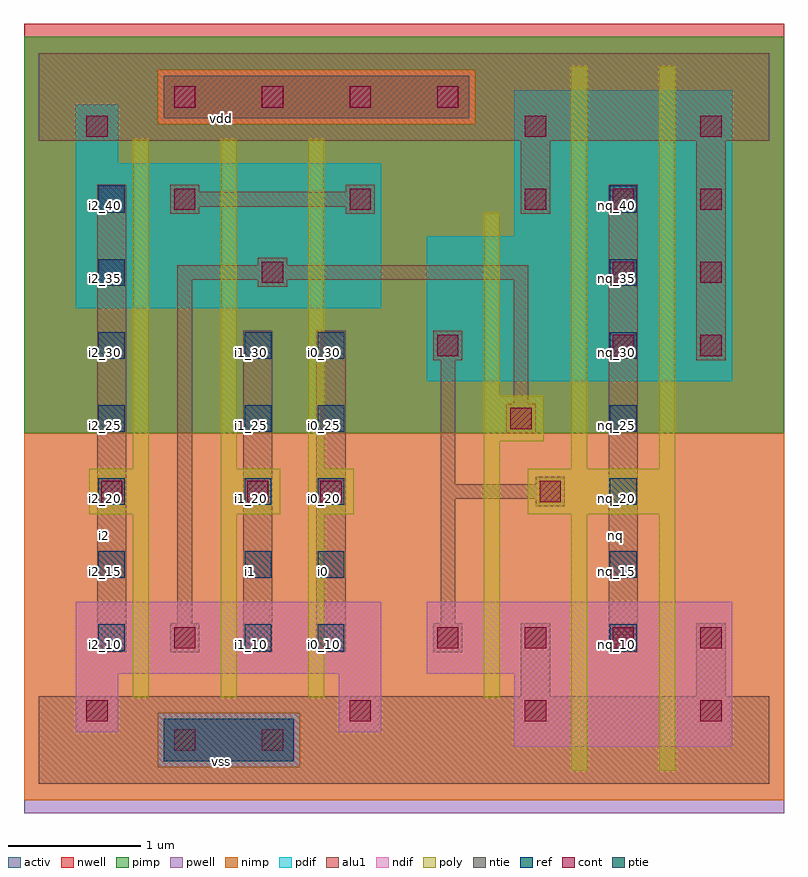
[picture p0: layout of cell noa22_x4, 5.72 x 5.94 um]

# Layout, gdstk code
import gdstk
lib = gdstk.Library(unit=1e-6, precision=2.5e-09)
def R(c, l, rs):  # rectangles x0, y0, x1, y1
    for r in rs: c.add(gdstk.rectangle(r[:2], r[2:], *l))
def A(c, l, x, y, w, h, nx, ny, dx, dy):  # array of equal rectangles
    R(c, l, [(x+i*dx, y+j*dy, x+i*dx+w, y+j*dy+h) for i in range(nx) for j in range(ny)])
ndif = (3, 0)
pdif = (4, 0)
ntie = (5, 0)
ptie = (6, 0)
ref = (24, 0)
cont = (25, 0)
pwell = (41, 0)
nwell = (42, 0)
activ = (43, 0)
pimp = (44, 0)
nimp = (45, 0)
poly = (46, 0)
alu1 = (49, 0)

noa22_x4 = lib.new_cell('noa22_x4')
R(noa22_x4, ndif, [(3.58,0.28,5.22,0.83), (3.58,0.28,5.22,0.83), (0.28,0.39,0.6,0.83), (0.28,0.39,0.6,0.83), (2.26,0.39,2.58,0.83), (2.26,0.39,2.58,0.83), (0.28,0.83,2.58,1.37), (0.28,0.83,2.58,1.37), (2.92,0.83,5.22,1.37), (2.92,0.83,5.22,1.37)])
R(noa22_x4, pdif, [(2.92,3.03,5.22,4.12), (2.92,3.03,5.22,4.12), (0.28,3.58,2.58,4.67), (0.28,3.58,2.58,4.67), (3.58,4.12,5.22,5.22), (3.58,4.12,5.22,5.22), (0.28,4.67,0.6,5.11), (0.28,4.67,0.6,5.11)])
R(noa22_x4, ntie, [(0.94,5.01,3.24,5.33), (0.94,5.01,3.24,5.33)])
R(noa22_x4, ptie, [(0.94,0.17,1.92,0.49), (0.94,0.17,1.92,0.49)])
A(noa22_x4, ref, 0.45, 1, 0.2, 0.2, 1, 7, 0, 0.55)
A(noa22_x4, ref, 1.55, 1, 0.2, 0.2, 1, 5, 0, 0.55)
A(noa22_x4, ref, 2.1, 1, 0.2, 0.2, 1, 5, 0, 0.55)
A(noa22_x4, ref, 4.3, 1, 0.2, 0.2, 1, 7, 0, 0.55)
A(noa22_x4, cont, 2.34, 0.47, 0.16, 0.16, 3, 1, 1.32, 0)
A(noa22_x4, cont, 3, 1.02, 0.16, 0.16, 4, 1, 0.66, 0)
A(noa22_x4, cont, 4.32, 3.22, 0.16, 0.16, 1, 3, 0, 0.55)
A(noa22_x4, cont, 4.98, 3.22, 0.16, 0.16, 1, 4, 0, 0.55)
A(noa22_x4, cont, 1.02, 4.32, 0.16, 0.16, 3, 1, 1.32, 0)
A(noa22_x4, cont, 1.02, 5.09, 0.16, 0.16, 4, 1, 0.66, 0)
R(noa22_x4, cont, [(1.02,0.25,1.18,0.41), (1.68,0.25,1.84,0.41), (0.36,0.47,0.52,0.63), (1.02,1.02,1.18,1.18), (0.47,2.12,0.63,2.28), (1.57,2.12,1.73,2.28), (2.12,2.12,2.28,2.28), (3.77,2.12,3.93,2.28), (3.55,2.67,3.71,2.83), (3,3.22,3.16,3.38), (1.68,3.77,1.84,3.93), (0.36,4.87,0.52,5.03), (3.66,4.87,3.82,5.03)])
R(noa22_x4, pwell, [(-0.11,-0.22,5.61,2.64)])
R(noa22_x4, nwell, [(-0.11,2.64,5.61,5.72)])
R(noa22_x4, activ, [(0.94,0.17,1.92,0.49), (0.94,0.17,1.92,0.49), (3.58,0.28,5.22,0.83), (3.58,0.28,5.22,0.83), (0.28,0.39,0.6,0.83), (0.28,0.39,0.6,0.83), (2.26,0.39,2.58,0.83), (2.26,0.39,2.58,0.83), (0.28,0.83,2.58,1.37), (0.28,0.83,2.58,1.37), (2.92,0.83,5.22,1.37), (2.92,0.83,5.22,1.37), (2.92,3.03,5.22,4.12), (2.92,3.03,5.22,4.12), (0.28,3.58,2.58,4.67), (0.28,3.58,2.58,4.67), (3.58,4.12,5.22,5.22), (3.58,4.12,5.22,5.22), (0.28,4.67,0.6,5.11), (0.28,4.67,0.6,5.11), (0.94,5.01,3.24,5.33), (0.94,5.01,3.24,5.33)])
R(noa22_x4, pimp, [(0.895,0.125,1.965,0.535), (-0.11,2.64,5.61,4.965), (-0.11,4.965,0.895,5.375), (3.285,4.965,5.61,5.375), (-0.11,5.375,5.61,5.625)])
R(noa22_x4, nimp, [(-0.11,-0.125,5.61,0.125), (-0.11,0.125,0.895,0.535), (1.965,0.125,5.61,0.535), (-0.11,0.535,5.61,2.64), (0.895,4.965,3.285,5.375)])
A(noa22_x4, poly, 0.71, 0.65, 0.12, 1.38, 3, 1, 0.66, 0)
A(noa22_x4, poly, 0.71, 2.37, 0.12, 2.48, 3, 1, 0.66, 0)
R(noa22_x4, poly, [(4.01,0.1,4.13,2.03), (4.67,0.1,4.79,2.03), (3.35,0.65,3.47,2.58), (0.38,2.03,0.83,2.37), (1.37,2.03,1.82,2.37), (2.03,2.03,2.37,2.37), (3.68,2.03,4.79,2.37), (4.01,2.37,4.13,5.4), (4.67,2.37,4.79,5.4), (3.35,2.58,3.8,2.92), (3.35,2.92,3.47,4.3)])
R(noa22_x4, alu1, [(0,0,5.5,0.66), (3.63,0.66,3.85,1.21), (4.95,0.66,5.17,1.21), (0.44,0.99,0.66,4.51), (0.99,0.99,1.21,1.21), (1.54,0.99,1.76,3.41), (2.09,0.99,2.31,3.41), (2.97,0.99,3.19,1.21), (4.29,0.99,4.51,4.51), (1.045,1.21,1.155,3.795), (3.025,1.21,3.135,2.145), (3.74,2.09,3.96,2.145), (3.025,2.145,3.96,2.255), (3.025,2.255,3.135,3.19), (3.74,2.255,3.96,2.31), (3.52,2.64,3.74,2.86), (3.575,2.86,3.685,3.795), (2.97,3.19,3.19,3.41), (4.95,3.19,5.17,4.84), (1.65,3.74,1.87,3.795), (1.045,3.795,3.685,3.905), (1.65,3.905,1.87,3.96), (0.99,4.29,1.21,4.345), (2.31,4.29,2.53,4.345), (3.63,4.29,3.85,4.84), (0.99,4.345,2.53,4.455), (0.99,4.455,1.21,4.51), (2.31,4.455,2.53,4.51), (0,4.84,5.5,5.5)])
noa22_x4.add(gdstk.Label('vss', (1.375,0.165), layer=49, texttype=0))
noa22_x4.add(gdstk.Label('nq', (4.345,1.87), layer=49, texttype=0))
noa22_x4.add(gdstk.Label('i0', (2.145,1.595), layer=49, texttype=0))
noa22_x4.add(gdstk.Label('i1', (1.595,1.595), layer=49, texttype=0))
noa22_x4.add(gdstk.Label('i2', (0.495,1.87), layer=49, texttype=0))
noa22_x4.add(gdstk.Label('vdd', (1.375,5.005), layer=49, texttype=0))
noa22_x4.add(gdstk.Label('i0_15', (2.15,1.6), layer=24, texttype=0))
noa22_x4.add(gdstk.Label('i0_10', (2.15,1.05), layer=24, texttype=0))
noa22_x4.add(gdstk.Label('nq_40', (4.35,4.35), layer=24, texttype=0))
noa22_x4.add(gdstk.Label('i1_10', (1.6,1.05), layer=24, texttype=0))
noa22_x4.add(gdstk.Label('i1_15', (1.6,1.6), layer=24, texttype=0))
noa22_x4.add(gdstk.Label('i1_20', (1.6,2.15), layer=24, texttype=0))
noa22_x4.add(gdstk.Label('i1_25', (1.6,2.7), layer=24, texttype=0))
noa22_x4.add(gdstk.Label('i1_30', (1.6,3.25), layer=24, texttype=0))
noa22_x4.add(gdstk.Label('i0_30', (2.15,3.25), layer=24, texttype=0))
noa22_x4.add(gdstk.Label('i0_25', (2.15,2.7), layer=24, texttype=0))
noa22_x4.add(gdstk.Label('i0_20', (2.15,2.15), layer=24, texttype=0))
noa22_x4.add(gdstk.Label('i2_30', (0.5,3.25), layer=24, texttype=0))
noa22_x4.add(gdstk.Label('i2_25', (0.5,2.7), layer=24, texttype=0))
noa22_x4.add(gdstk.Label('i2_20', (0.5,2.15), layer=24, texttype=0))
noa22_x4.add(gdstk.Label('i2_15', (0.5,1.6), layer=24, texttype=0))
noa22_x4.add(gdstk.Label('i2_10', (0.5,1.05), layer=24, texttype=0))
noa22_x4.add(gdstk.Label('nq_25', (4.35,2.7), layer=24, texttype=0))
noa22_x4.add(gdstk.Label('nq_15', (4.35,1.6), layer=24, texttype=0))
noa22_x4.add(gdstk.Label('nq_10', (4.35,1.05), layer=24, texttype=0))
noa22_x4.add(gdstk.Label('nq_20', (4.35,2.15), layer=24, texttype=0))
noa22_x4.add(gdstk.Label('nq_30', (4.35,3.25), layer=24, texttype=0))
noa22_x4.add(gdstk.Label('nq_35', (4.35,3.8), layer=24, texttype=0))
noa22_x4.add(gdstk.Label('i2_35', (0.5,3.8), layer=24, texttype=0))
noa22_x4.add(gdstk.Label('i2_40', (0.5,4.35), layer=24, texttype=0))

lib.write_gds('noa22_x4.gds')
